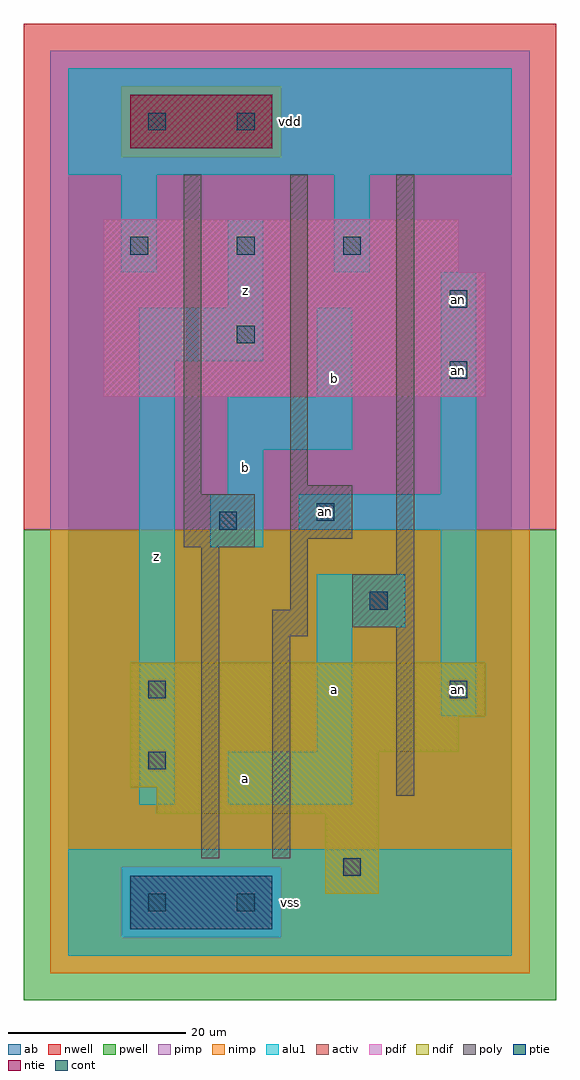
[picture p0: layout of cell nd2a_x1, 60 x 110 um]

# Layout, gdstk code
import gdstk
lib = gdstk.Library(unit=1e-6, precision=1e-09)
def R(c, l, rs):  # rectangles x0, y0, x1, y1
    for r in rs: c.add(gdstk.rectangle(r[:2], r[2:], *l))
def A(c, l, x, y, w, h, nx, ny, dx, dy):  # array of equal rectangles
    R(c, l, [(x+i*dx, y+j*dy, x+i*dx+w, y+j*dy+h) for i in range(nx) for j in range(ny)])
ndif = (3, 0)
pdif = (4, 0)
ntie = (5, 0)
ptie = (6, 0)
cont = (25, 0)
pwell = (41, 0)
nwell = (42, 0)
activ = (43, 0)
pimp = (44, 0)
nimp = (45, 0)
poly = (46, 0)
alu1 = (49, 0)
ab = (63, 0)

nd2a_x1 = lib.new_cell('nd2a_x1')
R(nd2a_x1, ndif, [(29,7,35,16), (10,16,35,19), (7,19,35,23), (7,23,44,27), (7,27,47,33)])
R(nd2a_x1, pdif, [(4,63,47,77), (4,77,44,83)])
R(nd2a_x1, ntie, [(7,91,23,97)])
R(nd2a_x1, ptie, [(7,3,23,9)])
A(nd2a_x1, cont, 7, 79, 2, 2, 3, 1, 12, 0)
R(nd2a_x1, cont, [(9,5,11,7), (19,5,21,7), (31,9,33,11), (9,21,11,23), (9,29,11,31), (43,29,45,31), (34,39,36,41), (17,48,19,50), (28,49,30,51), (43,65,45,67), (19,69,21,71), (43,73,45,75), (9,93,11,95), (19,93,21,95)])
R(nd2a_x1, pwell, [(-5,-5,55,48)])
R(nd2a_x1, nwell, [(-5,48,55,105)])
R(nd2a_x1, activ, [(7,3,23,9), (29,7,35,16), (10,16,35,19), (7,19,35,23), (7,23,44,27), (7,27,47,33), (4,63,47,77), (4,77,44,83), (7,91,23,97)])
R(nd2a_x1, pimp, [(6,2,24,10), (-2,48,52,90), (-2,90,6,98), (24,90,52,98), (-2,98,52,102)])
R(nd2a_x1, nimp, [(-2,-2,52,2), (-2,2,6,10), (24,2,52,10), (-2,10,52,48), (6,90,24,98)])
R(nd2a_x1, poly, [(15,11,17,46), (23,11,25,36), (37,18,39,37), (23,36,27,39), (32,37,39,43), (25,39,27,47), (37,43,39,88), (13,46,21,52), (25,47,32,53), (13,52,15,88), (25,53,27,88)])
R(nd2a_x1, alu1, [(0,0,50,12), (8,17,12,67), (18,17,32,23), (28,23,32,37), (42,27,46,48), (28,37,38,43), (16,46,22,52), (26,48,46,52), (18,52,22,57), (42,52,46,77), (18,57,32,63), (28,63,32,73), (8,67,22,73), (18,73,22,83), (6,77,10,88), (30,77,34,88), (0,88,50,100)])
R(nd2a_x1, ab, [(0,0,50,100)])
nd2a_x1.add(gdstk.Label('an', (29,50), layer=49, texttype=0))
nd2a_x1.add(gdstk.Label('an', (44,30), layer=49, texttype=0))
nd2a_x1.add(gdstk.Label('an', (44,66), layer=49, texttype=0))
nd2a_x1.add(gdstk.Label('an', (44,74), layer=49, texttype=0))
nd2a_x1.add(gdstk.Label('a', (20,20), layer=49, texttype=0))
nd2a_x1.add(gdstk.Label('z', (10,45), layer=49, texttype=0))
nd2a_x1.add(gdstk.Label('b', (20,55), layer=49, texttype=0))
nd2a_x1.add(gdstk.Label('z', (20,75), layer=49, texttype=0))
nd2a_x1.add(gdstk.Label('vss', (25,6), layer=49, texttype=0))
nd2a_x1.add(gdstk.Label('a', (30,30), layer=49, texttype=0))
nd2a_x1.add(gdstk.Label('b', (30,65), layer=49, texttype=0))
nd2a_x1.add(gdstk.Label('vdd', (25,94), layer=49, texttype=0))

lib.write_gds('nd2a_x1.gds')
